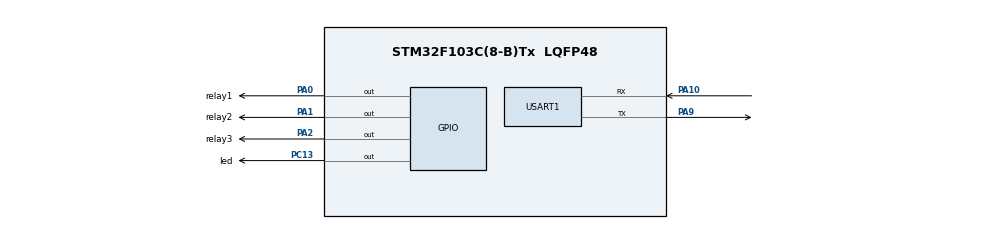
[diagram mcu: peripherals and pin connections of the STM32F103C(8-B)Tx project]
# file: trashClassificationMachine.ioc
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Mcu.Family=STM32F1
Mcu.Name=STM32F103C(8-B)Tx
Mcu.Package=LQFP48
NVIC.PriorityGroup=NVIC_PRIORITYGROUP_4
NVIC.USART1_IRQn=true\:0\:0\:false\:false\:true\:true\:true
PA0-WKUP.GPIO_Label=relay1
PA0-WKUP.Signal=GPIO_Output
PA1.GPIO_Label=relay2
PA1.Signal=GPIO_Output
PA10.Mode=Asynchronous
PA10.Signal=USART1_RX
PA13.Mode=Serial_Wire
PA13.Signal=SYS_JTMS-SWDIO
PA14.Mode=Serial_Wire
PA14.Signal=SYS_JTCK-SWCLK
PA2.GPIO_Label=relay3
PA2.Signal=GPIO_Output
PA9.Mode=Asynchronous
PA9.Signal=USART1_TX
PC13-TAMPER-RTC.GPIO_Label=led
PC13-TAMPER-RTC.Signal=GPIO_Output
PD0-OSC_IN.Mode=HSE-External-Oscillator
PD0-OSC_IN.Signal=RCC_OSC_IN
PD1-OSC_OUT.Mode=HSE-External-Oscillator
PD1-OSC_OUT.Signal=RCC_OSC_OUT
ProjectManager.HeapSize=0x200
ProjectManager.StackSize=0x400
ProjectManager.TargetToolchain=STM32CubeIDE
RCC.APB1Freq_Value=8000000
RCC.APB2Freq_Value=8000000
USART1.VirtualMode=VM_ASYNC
board=custom

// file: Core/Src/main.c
/* USER CODE BEGIN Header */
/**
  ******************************************************************************
  * @file           : main.c
  * @brief          : Main program body
  ******************************************************************************
  * @attention
  *
  * Copyright (c) 2022 STMicroelectronics.
  * All rights reserved.
  *
  * This software is licensed under terms that can be found in the LICENSE file
  * in the root directory of this software component.
  * If no LICENSE file comes with this software, it is provided AS-IS.
  *
  ******************************************************************************
  */
/* USER CODE END Header */
#include "main.h"

UART_HandleTypeDef huart1;

/* USER CODE BEGIN PV */
uint8_t rxBuffer[10];
uint32_t time1 = 0, time2 = 0, time3 = 0;
/* USER CODE END PV */

void SystemClock_Config(void);
static void MX_GPIO_Init(void);
static void MX_USART1_UART_Init(void);

/* USER CODE BEGIN 0 */
void HAL_UART_RxCpltCallback(UART_HandleTypeDef* huart) {
	if (huart->Instance == huart1.Instance) {
		for (uint8_t i = 0; i < 10; i++) {
			if (rxBuffer[i] == 1) {
				if (HAL_GetTick() - time1 > 2000) {
					GPIOA->BSRR = relay1_Pin << 16u;
					time1 = HAL_GetTick();
				}
				else GPIOA->BSRR = relay1_Pin;
			}
			if (rxBuffer[i] == 2) {
				if (HAL_GetTick() - time2 > 5000) {
					GPIOA->BSRR = relay2_Pin << 16u;
					time2 = HAL_GetTick();
				}
				else GPIOA->BSRR = relay2_Pin;
			}
			if (rxBuffer[i] == 3) {
				if (HAL_GetTick() - time3 > 8000) {
					GPIOA->BSRR = relay3_Pin << 16u;
					time3 = HAL_GetTick();
				}
				else GPIOA->BSRR = relay3_Pin;
			}

		}
		for (uint8_t i = 0; i < 10; i++) {
			rxBuffer[i] = 0;
		}

		HAL_UART_Receive_IT(&huart1, rxBuffer, 10);
	}
}
/* USER CODE END 0 */

int main(void)
{

  /* MCU Configuration--------------------------------------------------------*/

  /* Reset of all peripherals, Initializes the Flash interface and the Systick. */
  HAL_Init();

  /* Configure the system clock */
  SystemClock_Config();

  /* Initialize all configured peripherals */
  MX_GPIO_Init();
  MX_USART1_UART_Init();
  /* USER CODE BEGIN 2 */
	HAL_UART_Receive_IT(&huart1, rxBuffer, 10);
  /* USER CODE END 2 */

  /* Infinite loop */
  while (1)
  {

    /* USER CODE BEGIN 3 */
	  GPIOC->BSRR = led_Pin;
	  HAL_Delay(500);
	  GPIOC->BSRR = led_Pin << 16u;
	  HAL_Delay(500);
  }
  /* USER CODE END 3 */
}

void SystemClock_Config(void)
{
  RCC_OscInitTypeDef RCC_OscInitStruct = {0};
  RCC_ClkInitTypeDef RCC_ClkInitStruct = {0};

  /** Initializes the RCC Oscillators according to the specified parameters
  * in the RCC_OscInitTypeDef structure.
  */
  RCC_OscInitStruct.OscillatorType = RCC_OSCILLATORTYPE_HSI;
  RCC_OscInitStruct.HSIState = RCC_HSI_ON;
  RCC_OscInitStruct.HSICalibrationValue = RCC_HSICALIBRATION_DEFAULT;
  RCC_OscInitStruct.PLL.PLLState = RCC_PLL_NONE;
  if (HAL_RCC_OscConfig(&RCC_OscInitStruct) != HAL_OK)
  {
    Error_Handler();
  }
  /** Initializes the CPU, AHB and APB buses clocks
  */
  RCC_ClkInitStruct.ClockType = RCC_CLOCKTYPE_HCLK|RCC_CLOCKTYPE_SYSCLK
                              |RCC_CLOCKTYPE_PCLK1|RCC_CLOCKTYPE_PCLK2;
  RCC_ClkInitStruct.SYSCLKSource = RCC_SYSCLKSOURCE_HSI;
  RCC_ClkInitStruct.AHBCLKDivider = RCC_SYSCLK_DIV1;
  RCC_ClkInitStruct.APB1CLKDivider = RCC_HCLK_DIV1;
  RCC_ClkInitStruct.APB2CLKDivider = RCC_HCLK_DIV1;

  if (HAL_RCC_ClockConfig(&RCC_ClkInitStruct, FLASH_LATENCY_0) != HAL_OK)
  {
    Error_Handler();
  }
}

static void MX_USART1_UART_Init(void)
{

  huart1.Instance = USART1;
  huart1.Init.BaudRate = 115200;
  huart1.Init.WordLength = UART_WORDLENGTH_8B;
  huart1.Init.StopBits = UART_STOPBITS_1;
  huart1.Init.Parity = UART_PARITY_NONE;
  huart1.Init.Mode = UART_MODE_TX_RX;
  huart1.Init.HwFlowCtl = UART_HWCONTROL_NONE;
  huart1.Init.OverSampling = UART_OVERSAMPLING_16;
  if (HAL_UART_Init(&huart1) != HAL_OK)
  {
    Error_Handler();
  }

}

static void MX_GPIO_Init(void)
{
  GPIO_InitTypeDef GPIO_InitStruct = {0};

  /* GPIO Ports Clock Enable */
  __HAL_RCC_GPIOC_CLK_ENABLE();
  __HAL_RCC_GPIOD_CLK_ENABLE();
  __HAL_RCC_GPIOA_CLK_ENABLE();

  /*Configure GPIO pin Output Level */
  HAL_GPIO_WritePin(led_GPIO_Port, led_Pin, GPIO_PIN_RESET);

  /*Configure GPIO pin Output Level */
  HAL_GPIO_WritePin(GPIOA, relay1_Pin|relay2_Pin|relay3_Pin, GPIO_PIN_RESET);

  /*Configure GPIO pin : led_Pin */
  GPIO_InitStruct.Pin = led_Pin;
  GPIO_InitStruct.Mode = GPIO_MODE_OUTPUT_PP;
  GPIO_InitStruct.Pull = GPIO_NOPULL;
  GPIO_InitStruct.Speed = GPIO_SPEED_FREQ_LOW;
  HAL_GPIO_Init(led_GPIO_Port, &GPIO_InitStruct);

  /*Configure GPIO pins : relay1_Pin relay2_Pin relay3_Pin */
  GPIO_InitStruct.Pin = relay1_Pin|relay2_Pin|relay3_Pin;
  GPIO_InitStruct.Mode = GPIO_MODE_OUTPUT_PP;
  GPIO_InitStruct.Pull = GPIO_NOPULL;
  GPIO_InitStruct.Speed = GPIO_SPEED_FREQ_LOW;
  HAL_GPIO_Init(GPIOA, &GPIO_InitStruct);

}

void Error_Handler(void)
{
  __disable_irq();
  while (1)
  {
  }
}
